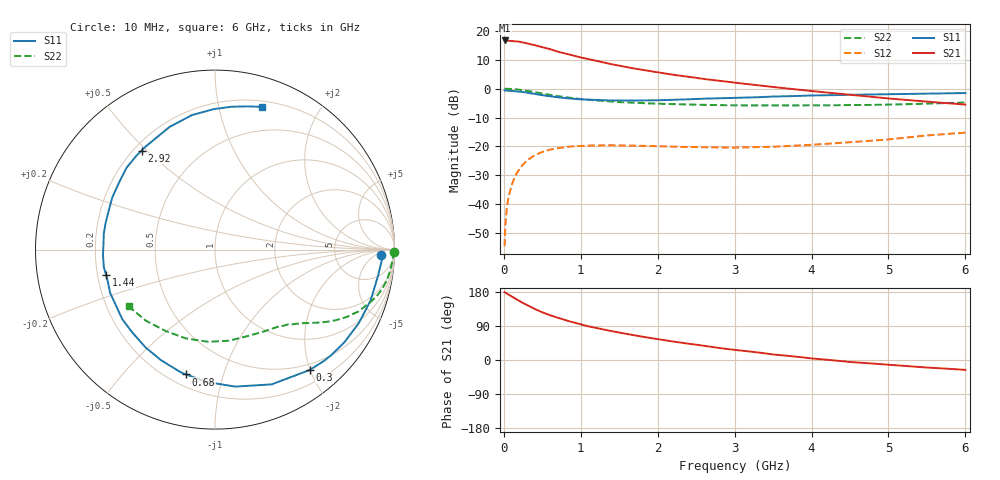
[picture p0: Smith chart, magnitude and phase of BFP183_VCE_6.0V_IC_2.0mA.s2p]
! Infineon Technologies  Discrete & RF Semiconductors
! BFP183
! VCE = 6.0 V,  IC =  2.0 mA
! Common Emitter S-Parameters:  Jan 2016
# GHz  S  MA  R  50
!  f  S11  S21  S12  S22
! GHz  MAG  ANG  MAG  ANG  MAG  ANG  MAG  ANG
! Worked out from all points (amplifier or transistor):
!   210 points, 10 MHz to 6 GHz, reference 50 ohm
!   highest |S21| = 16.6 dB at 10 MHz (marker M1)
!   |S21| within 3 dB of that: start of sweep to 600.9 MHz
!   unconditionally stable (mu >= 1): 2.13 GHz to 5.896 GHz
!   at 185 MHz: K = 0.09, MSG = 22.4 dB, |S12| = -28.5 dB
!   at 1.52 GHz: K = 0.71, MSG = 13.7 dB, |S12| = -19.6 dB
!   at 6 GHz: K = 0.97, MSG = 4.8 dB, |S12| = -15.2 dB
!   S11 on the Smith chart (normalised r, x): 10 MHz: 23, -9; 300 MHz: 0.40, -1.99; 680 MHz: 0.27, -0.76; 1.44 GHz: 0.23, -0.11; 2.92 GHz: 0.23, +0.48; 6 GHz: 0.25, +1.35
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0.01  0.9271 -1.7  6.778 178.9  0.0019 83.2  0.9991 -0.7
0.02  0.9315 -3.6  6.768 178.0  0.0043 88.4  0.9926 -1.3
0.03  0.9269 -5.4  6.753 176.6  0.0065 87.8  0.9922 -2.0
0.075  0.9135 -13.4  6.682 170.9  0.0159 82.1  0.987 -5.0
0.2  0.8865 -35.8  6.455 155.8  0.0402 70.1  0.9565 -13.2
0.3  0.8535 -51.8  6.063 145.4  0.0571 61.1  0.9128 -18.8
0.4  0.8145 -67.2  5.637 134.8  0.0705 53.3  0.8697 -23.4
0.5  0.7714 -81.7  5.186 125.8  0.0804 46.0  0.8213 -27.3
0.6  0.7386 -93.9  4.803 118.1  0.0883 40.4  0.7783 -30.4
0.68  0.7136 -103.0  4.433 112.8  0.0924 36.5  0.7482 -32.4
0.8  0.6858 -115.9  4.033 105.0  0.0974 31.3  0.7108 -34.9
1.02  0.6499 -136.5  3.407 92.9  0.1028 24.2  0.6544 -38.7
1.2  0.6329 -151.0  3.002 84.6  0.1044 19.4  0.6238 -41.4
1.44  0.6232 -167.0  2.574 74.8  0.1048 15.5  0.5922 -44.7
1.78  0.6248 172.8  2.133 62.2  0.1028 12.0  0.5616 -49.4
2.02  0.6296 160.9  1.891 54.4  0.101 10.7  0.5472 -52.8
2.4  0.6531 144.6  1.601 43.0  0.0979 10.4  0.5312 -59.3
2.92  0.6868 126.6  1.306 28.8  0.0957 13.0  0.5151 -69.0
3.1  0.696 121.3  1.223 24.6  0.0962 14.4  0.5124 -72.8
4.1  0.7633 97.8  0.88 2.5  0.1091 22.3  0.5137 -97.0
5.1  0.8037 82.2  0.658 -14.0  0.1369 26.2  0.5324 -123.8
6  0.8376 71.7  0.529 -26.1  0.1735 21.5  0.5757 -146.7
